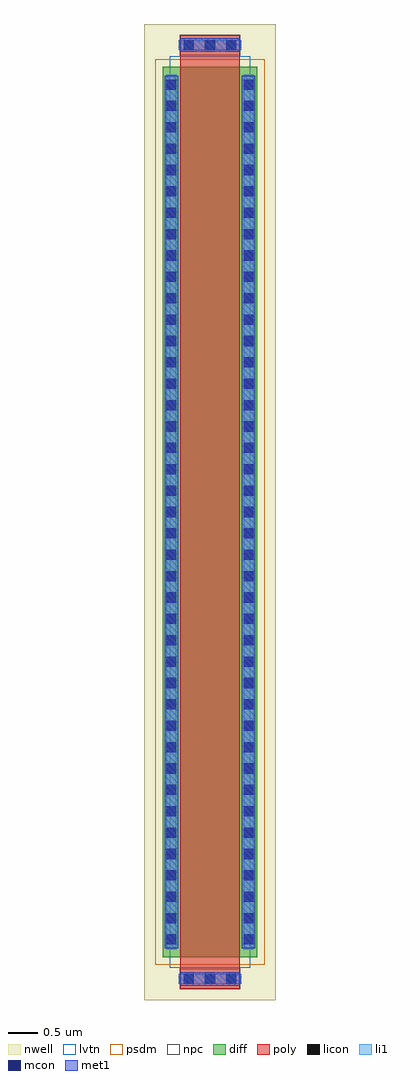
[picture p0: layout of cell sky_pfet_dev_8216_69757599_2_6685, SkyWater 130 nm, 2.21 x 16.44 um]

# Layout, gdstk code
import gdstk
lib = gdstk.Library(unit=1e-6, precision=1e-09)
def R(c, l, rs):  # rectangles x0, y0, x1, y1
    for r in rs: c.add(gdstk.rectangle(r[:2], r[2:], *l))
nwell = (64, 20)
diff = (65, 20)
poly = (66, 20)
licon = (66, 44)
li1 = (67, 20)
mcon = (67, 44)
met1 = (68, 20)
psdm = (94, 20)
npc = (95, 20)
lvtn = (125, 44)

compass_52282c37 = lib.new_cell('compass_52282c37')
R(compass_52282c37, diff, [(-0.8,-7.5,0.8,7.5)])

rectangle_52282c37 = lib.new_cell('rectangle_52282c37')
rectangle_52282c37.add(gdstk.Reference(compass_52282c37, (0.8,7.5)))

compass_13620e5c = lib.new_cell('compass_13620e5c')
R(compass_13620e5c, licon, [(-0.085,-0.085,0.085,0.085), (-0.085,-0.085,0.085,0.085), (-0.085,-0.085,0.085,0.085), (-0.085,-0.085,0.085,0.085), (-0.085,-0.085,0.085,0.085), (-0.085,-0.085,0.085,0.085), (-0.085,-0.085,0.085,0.085), (-0.085,-0.085,0.085,0.085), (-0.085,-0.085,0.085,0.085), (-0.085,-0.085,0.085,0.085), (-0.085,-0.085,0.085,0.085), (-0.085,-0.085,0.085,0.085)])

rectangle_13620e5c = lib.new_cell('rectangle_13620e5c')
rectangle_13620e5c.add(gdstk.Reference(compass_13620e5c, (0.085,0.085)))

via_generator_bf61c820 = lib.new_cell('via_generator_bf61c820')
r = gdstk.Reference(rectangle_13620e5c, (0.065,0.215)); r.repetition = gdstk.Repetition(1, 41, v1=(0,0), v2=(0,0.36)); via_generator_bf61c820.add(r)

compass_d68a24f6 = lib.new_cell('compass_d68a24f6')
R(compass_d68a24f6, li1, [(-0.085,-7.365,0.085,7.365)])

rectangle_d68a24f6 = lib.new_cell('rectangle_d68a24f6')
rectangle_d68a24f6.add(gdstk.Reference(compass_d68a24f6, (0.085,7.365)))

compass_3c2dbaf2 = lib.new_cell('compass_3c2dbaf2')
R(compass_3c2dbaf2, mcon, [(-0.085,-0.085,0.085,0.085), (-0.085,-0.085,0.085,0.085), (-0.085,-0.085,0.085,0.085), (-0.085,-0.085,0.085,0.085), (-0.085,-0.085,0.085,0.085), (-0.085,-0.085,0.085,0.085), (-0.085,-0.085,0.085,0.085), (-0.085,-0.085,0.085,0.085), (-0.085,-0.085,0.085,0.085), (-0.085,-0.085,0.085,0.085), (-0.085,-0.085,0.085,0.085), (-0.085,-0.085,0.085,0.085)])

rectangle_3c2dbaf2 = lib.new_cell('rectangle_3c2dbaf2')
rectangle_3c2dbaf2.add(gdstk.Reference(compass_3c2dbaf2, (0.085,0.085)))

via_generator_392beb01 = lib.new_cell('via_generator_392beb01')
r = gdstk.Reference(rectangle_3c2dbaf2, (0.065,0.215)); r.repetition = gdstk.Repetition(1, 41, v1=(0,0), v2=(0,0.36)); via_generator_392beb01.add(r)

compass_a1e64faa = lib.new_cell('compass_a1e64faa')
R(compass_a1e64faa, met1, [(-0.115,-7.345,0.115,7.345)])

rectangle_a1e64faa = lib.new_cell('rectangle_a1e64faa')
rectangle_a1e64faa.add(gdstk.Reference(compass_a1e64faa, (0.115,7.345)))

via_stack_d3920be4 = lib.new_cell('via_stack_d3920be4')
via_stack_d3920be4.add(gdstk.Reference(via_generator_bf61c820, (0,0)))
via_stack_d3920be4.add(gdstk.Reference(rectangle_d68a24f6, (0.065,0.135)))
via_stack_d3920be4.add(gdstk.Reference(via_generator_392beb01, (0,0)))
via_stack_d3920be4.add(gdstk.Reference(rectangle_a1e64faa, (0.035,0.155)))

compass_b0803ffb = lib.new_cell('compass_b0803ffb')
R(compass_b0803ffb, poly, [(-0.5,-7.7,0.5,7.7)])

rectangle_b0803ffb = lib.new_cell('rectangle_b0803ffb')
rectangle_b0803ffb.add(gdstk.Reference(compass_b0803ffb, (0.5,7.7)))

compass_674a5263 = lib.new_cell('compass_674a5263')
R(compass_674a5263, poly, [(-0.5,-0.165,0.5,0.165), (-0.5,-0.165,0.5,0.165), (-0.5,-0.165,0.5,0.165), (-0.5,-0.165,0.5,0.165), (-0.5,-0.165,0.5,0.165), (-0.5,-0.165,0.5,0.165), (-0.5,-0.165,0.5,0.165), (-0.5,-0.165,0.5,0.165), (-0.5,-0.165,0.5,0.165), (-0.5,-0.165,0.5,0.165), (-0.5,-0.165,0.5,0.165), (-0.5,-0.165,0.5,0.165)])

rectangle_674a5263 = lib.new_cell('rectangle_674a5263')
rectangle_674a5263.add(gdstk.Reference(compass_674a5263, (0.5,0.165)))

compass_415d02c3 = lib.new_cell('compass_415d02c3')
R(compass_415d02c3, npc, [(-0.51,-0.175,0.51,0.175), (-0.51,-0.175,0.51,0.175), (-0.51,-0.175,0.51,0.175), (-0.51,-0.175,0.51,0.175), (-0.51,-0.175,0.51,0.175), (-0.51,-0.175,0.51,0.175), (-0.51,-0.175,0.51,0.175), (-0.51,-0.175,0.51,0.175), (-0.51,-0.175,0.51,0.175), (-0.51,-0.175,0.51,0.175), (-0.51,-0.175,0.51,0.175), (-0.51,-0.175,0.51,0.175)])

rectangle_415d02c3 = lib.new_cell('rectangle_415d02c3')
rectangle_415d02c3.add(gdstk.Reference(compass_415d02c3, (0.51,0.175)))

via_generator_33d20b07 = lib.new_cell('via_generator_33d20b07')
r = gdstk.Reference(rectangle_13620e5c, (0.055,0.08)); r.repetition = gdstk.Repetition(3, 1, v1=(0.36,0), v2=(0,0)); via_generator_33d20b07.add(r)

compass_b5a72fd6 = lib.new_cell('compass_b5a72fd6')
R(compass_b5a72fd6, li1, [(-0.525,-0.085,0.525,0.085), (-0.525,-0.085,0.525,0.085), (-0.525,-0.085,0.525,0.085), (-0.525,-0.085,0.525,0.085), (-0.525,-0.085,0.525,0.085), (-0.525,-0.085,0.525,0.085), (-0.525,-0.085,0.525,0.085), (-0.525,-0.085,0.525,0.085), (-0.525,-0.085,0.525,0.085), (-0.525,-0.085,0.525,0.085), (-0.525,-0.085,0.525,0.085), (-0.525,-0.085,0.525,0.085)])

rectangle_b5a72fd6 = lib.new_cell('rectangle_b5a72fd6')
rectangle_b5a72fd6.add(gdstk.Reference(compass_b5a72fd6, (0.525,0.085)))

via_generator_01ce030f = lib.new_cell('via_generator_01ce030f')
r = gdstk.Reference(rectangle_3c2dbaf2, (0.055,0.08)); r.repetition = gdstk.Repetition(3, 1, v1=(0.36,0), v2=(0,0)); via_generator_01ce030f.add(r)

compass_8f72ae85 = lib.new_cell('compass_8f72ae85')
R(compass_8f72ae85, met1, [(-0.505,-0.115,0.505,0.115), (-0.505,-0.115,0.505,0.115), (-0.505,-0.115,0.505,0.115), (-0.505,-0.115,0.505,0.115), (-0.505,-0.115,0.505,0.115), (-0.505,-0.115,0.505,0.115), (-0.505,-0.115,0.505,0.115), (-0.505,-0.115,0.505,0.115), (-0.505,-0.115,0.505,0.115), (-0.505,-0.115,0.505,0.115), (-0.505,-0.115,0.505,0.115), (-0.505,-0.115,0.505,0.115)])

rectangle_8f72ae85 = lib.new_cell('rectangle_8f72ae85')
rectangle_8f72ae85.add(gdstk.Reference(compass_8f72ae85, (0.505,0.115)))

via_stack_10315345 = lib.new_cell('via_stack_10315345')
via_stack_10315345.add(gdstk.Reference(rectangle_415d02c3, (-0.01,-0.01)))
via_stack_10315345.add(gdstk.Reference(via_generator_33d20b07, (0,0)))
via_stack_10315345.add(gdstk.Reference(rectangle_b5a72fd6, (-0.025,0.08)))
via_stack_10315345.add(gdstk.Reference(via_generator_01ce030f, (0,0)))
via_stack_10315345.add(gdstk.Reference(rectangle_8f72ae85, (-0.005,0.05)))

poly_con_1 = lib.new_cell('poly$con$1')
poly_con_1.add(gdstk.Reference(rectangle_674a5263, (0,0)))
poly_con_1.add(gdstk.Reference(via_stack_10315345, (0,0)))

compass_8d9b71a2 = lib.new_cell('compass_8d9b71a2')
R(compass_8d9b71a2, psdm, [(-0.925,-7.625,0.925,7.625)])

rectangle_8d9b71a2 = lib.new_cell('rectangle_8d9b71a2')
rectangle_8d9b71a2.add(gdstk.Reference(compass_8d9b71a2, (0.925,7.625)))

compass_89957d3e = lib.new_cell('compass_89957d3e')
R(compass_89957d3e, lvtn, [(-0.68,-7.68,0.68,7.68)])

rectangle_89957d3e = lib.new_cell('rectangle_89957d3e')
rectangle_89957d3e.add(gdstk.Reference(compass_89957d3e, (0.68,7.68)))

dev_temp_1 = lib.new_cell('dev_temp$1')
dev_temp_1.add(gdstk.Reference(rectangle_52282c37, (0,0)))
r = gdstk.Reference(via_stack_d3920be4, (0,0)); r.repetition = gdstk.Repetition(2, 1, v1=(1.3,0), v2=(0,0)); dev_temp_1.add(r)
dev_temp_1.add(gdstk.Reference(rectangle_b0803ffb, (0.3,-0.2)))
r = gdstk.Reference(poly_con_1, (0.3,-0.53)); r.repetition = gdstk.Repetition(1, 2, v1=(0,0), v2=(0,15.73)); dev_temp_1.add(r)
dev_temp_1.add(gdstk.Reference(rectangle_8d9b71a2, (-0.125,-0.125)))
dev_temp_1.add(gdstk.Reference(rectangle_89957d3e, (0.12,-0.18)))

compass_1295a1e6 = lib.new_cell('compass_1295a1e6')
R(compass_1295a1e6, nwell, [(-1.105,-8.22,1.105,8.22)])

rectangle_1295a1e6 = lib.new_cell('rectangle_1295a1e6')
rectangle_1295a1e6.add(gdstk.Reference(compass_1295a1e6, (1.105,8.22)))

sky_pfet_dev_8216_697575 = lib.new_cell('sky_pfet_dev_8216_69757599_2_6685')
sky_pfet_dev_8216_697575.add(gdstk.Reference(dev_temp_1, (0,0)))
sky_pfet_dev_8216_697575.add(gdstk.Reference(rectangle_1295a1e6, (-0.305,-0.72)))

lib.write_gds('sky_pfet_dev_8216_69757599_2_6685.gds')
